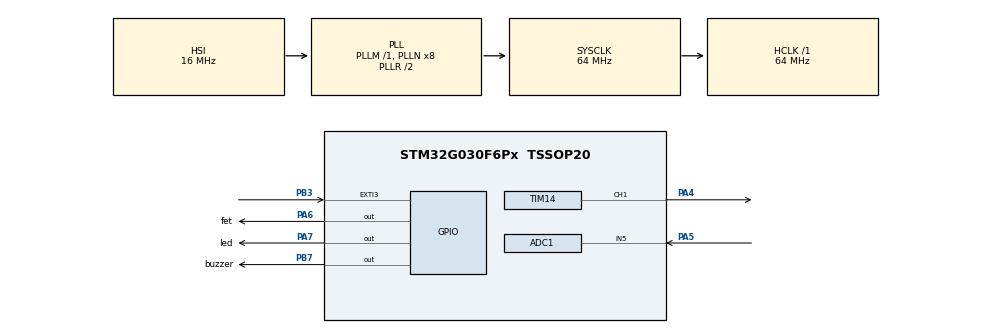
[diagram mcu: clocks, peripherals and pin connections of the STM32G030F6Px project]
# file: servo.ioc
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ADC1.Channel-0\#ChannelRegularConversion=ADC_CHANNEL_5
ADC1.NbrOfConversionFlag=1
ADC1.Rank-0\#ChannelRegularConversion=1
ADC1.SamplingTime-0\#ChannelRegularConversion=ADC_SAMPLINGTIME_COMMON_1
ADC1.SelectedChannel=ADC_CHANNEL_5
ADC1.master=1
Mcu.Family=STM32G0
Mcu.Name=STM32G030F6Px
Mcu.Package=TSSOP20
NVIC.ADC1_IRQn=true\:0\:0\:false\:false\:true\:true\:true\:true
NVIC.EXTI2_3_IRQn=true\:0\:0\:false\:false\:true\:true\:true\:true
NVIC.TIM14_IRQn=true\:0\:0\:false\:false\:true\:true\:true\:true
NVIC.TIM16_IRQn=true\:0\:0\:false\:false\:true\:true\:true\:true
PA13.Mode=Serial_Wire
PA13.Signal=SYS_SWDIO
PA14-BOOT0.Mode=Serial_Wire
PA14-BOOT0.Signal=SYS_SWCLK
PA14-BOOT0__PA15.StandardMode=true
PA4.Signal=S_TIM14_CH1
PA5.Mode=IN5
PA5.Signal=ADC1_IN5
PA6.GPIO_Label=fet
PA6.PinState=GPIO_PIN_SET
PA6.Signal=GPIO_Output
PA7.GPIO_Label=led
PA7.Signal=GPIO_Output
PB0__PB1__PB2__PA8.StandardMode=true
PB3.GPIO_ModeDefaultEXTI=GPIO_MODE_IT_FALLING
PB3.GPIO_PuPd=GPIO_PULLUP
PB3.Signal=GPXTI3
PB3__PB4__PB5__PB6.StandardMode=true
PB7.GPIO_Label=buzzer
PB7.Signal=GPIO_Output
PB7__PB8.StandardMode=true
PC14-OSC32_IN\ (PC14)__PB9.StandardMode=true
ProjectManager.HeapSize=0x200
ProjectManager.StackSize=0x400
ProjectManager.TargetToolchain=STM32CubeIDE
RCC.ADCFreq_Value=64000000
RCC.AHBFreq_Value=64000000
RCC.CortexFreq_Value=64000000
RCC.EXTERNAL_CLOCK_VALUE=12288000
RCC.HCLKFreq_Value=64000000
RCC.HSE_VALUE=8000000
RCC.HSI_VALUE=16000000
RCC.LSE_VALUE=32768
RCC.SYSCLKFreq_VALUE=64000000
RCC.SYSCLKSource=RCC_SYSCLKSOURCE_PLLCLK
RCC.VCOOutputFreq_Value=128000000
SH.S_TIM14_CH1.0=TIM14_CH1,PWM Generation1 CH1
TIM14.AutoReloadPreload=TIM_AUTORELOAD_PRELOAD_ENABLE
TIM14.Channel=TIM_CHANNEL_1
TIM14.Prescaler=19
TIM16.AutoReloadPreload=TIM_AUTORELOAD_PRELOAD_ENABLE
TIM16.Period=31999
TIM16.Prescaler=0
VP_TIM14_VS_ClockSourceINT.Mode=Enable_Timer
VP_TIM16_VS_ClockSourceINT.Mode=Enable_Timer
board=custom

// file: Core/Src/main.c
/* USER CODE BEGIN Header */
/**
  ******************************************************************************
  * @file           : main.c
  * @brief          : Main program body
  ******************************************************************************
  * @attention
  *
  * Copyright (c) 2026 STMicroelectronics.
  * All rights reserved.
  *
  * This software is licensed under terms that can be found in the LICENSE file
  * in the root directory of this software component.
  * If no LICENSE file comes with this software, it is provided AS-IS.
  *
  ******************************************************************************
  */
/* USER CODE END Header */
#include "main.h"

/* USER CODE BEGIN PD */
#define I_STALL 0.8
#define R_SHUNT 0.22
#define THRESHOLD I_STALL*R_SHUNT/3.3*4095
#define SAMPLES 3 //ignored samples
/* USER CODE END PD */

ADC_HandleTypeDef hadc1;

TIM_HandleTypeDef htim14;
TIM_HandleTypeDef htim16;

/* USER CODE BEGIN PV */
volatile uint8_t servo_power_rdy=0,angle=90,direction=1,buzzer=0,count=0;
volatile uint32_t last_debounce=0,tick=0;
/* USER CODE END PV */

void SystemClock_Config(void);
static void MX_GPIO_Init(void);
static void MX_ADC1_Init(void);
static void MX_TIM14_Init(void);
static void MX_TIM16_Init(void);

int main(void)
{

  /* MCU Configuration--------------------------------------------------------*/

  /* Reset of all peripherals, Initializes the Flash interface and the Systick. */
  HAL_Init();

  /* Configure the system clock */
  SystemClock_Config();

  /* Initialize all configured peripherals */
  MX_GPIO_Init();
  MX_ADC1_Init();
  MX_TIM14_Init();
  MX_TIM16_Init();
  /* USER CODE BEGIN 2 */
  HAL_TIM_PWM_Start(&htim14, TIM_CHANNEL_1);
  HAL_TIM_Base_Start_IT(&htim14);
  HAL_TIM_Base_Start_IT(&htim16);
  /* USER CODE END 2 */

  /* Infinite loop */
  /* USER CODE BEGIN WHILE */
  while (1)
  {
	TIM14->CCR1 = (angle/180.0*0.09+0.03)*65535;
    /* USER CODE END WHILE */

  }
}

void SystemClock_Config(void)
{
  RCC_OscInitTypeDef RCC_OscInitStruct = {0};
  RCC_ClkInitTypeDef RCC_ClkInitStruct = {0};

  /** Configure the main internal regulator output voltage
  */
  HAL_PWREx_ControlVoltageScaling(PWR_REGULATOR_VOLTAGE_SCALE1);

  /** Initializes the RCC Oscillators according to the specified parameters
  * in the RCC_OscInitTypeDef structure.
  */
  RCC_OscInitStruct.OscillatorType = RCC_OSCILLATORTYPE_HSI;
  RCC_OscInitStruct.HSIState = RCC_HSI_ON;
  RCC_OscInitStruct.HSIDiv = RCC_HSI_DIV1;
  RCC_OscInitStruct.HSICalibrationValue = RCC_HSICALIBRATION_DEFAULT;
  RCC_OscInitStruct.PLL.PLLState = RCC_PLL_ON;
  RCC_OscInitStruct.PLL.PLLSource = RCC_PLLSOURCE_HSI;
  RCC_OscInitStruct.PLL.PLLM = RCC_PLLM_DIV1;
  RCC_OscInitStruct.PLL.PLLN = 8;
  RCC_OscInitStruct.PLL.PLLP = RCC_PLLP_DIV2;
  RCC_OscInitStruct.PLL.PLLR = RCC_PLLR_DIV2;
  if (HAL_RCC_OscConfig(&RCC_OscInitStruct) != HAL_OK)
  {
    Error_Handler();
  }

  /** Initializes the CPU, AHB and APB buses clocks
  */
  RCC_ClkInitStruct.ClockType = RCC_CLOCKTYPE_HCLK|RCC_CLOCKTYPE_SYSCLK
                              |RCC_CLOCKTYPE_PCLK1;
  RCC_ClkInitStruct.SYSCLKSource = RCC_SYSCLKSOURCE_PLLCLK;
  RCC_ClkInitStruct.AHBCLKDivider = RCC_SYSCLK_DIV1;
  RCC_ClkInitStruct.APB1CLKDivider = RCC_HCLK_DIV1;

  if (HAL_RCC_ClockConfig(&RCC_ClkInitStruct, FLASH_LATENCY_2) != HAL_OK)
  {
    Error_Handler();
  }
}

static void MX_ADC1_Init(void)
{

  ADC_ChannelConfTypeDef sConfig = {0};

  /** Configure the global features of the ADC (Clock, Resolution, Data Alignment and number of conversion)
  */
  hadc1.Instance = ADC1;
  hadc1.Init.ClockPrescaler = ADC_CLOCK_SYNC_PCLK_DIV2;
  hadc1.Init.Resolution = ADC_RESOLUTION_12B;
  hadc1.Init.DataAlign = ADC_DATAALIGN_RIGHT;
  hadc1.Init.ScanConvMode = ADC_SCAN_DISABLE;
  hadc1.Init.EOCSelection = ADC_EOC_SINGLE_CONV;
  hadc1.Init.LowPowerAutoWait = DISABLE;
  hadc1.Init.LowPowerAutoPowerOff = DISABLE;
  hadc1.Init.ContinuousConvMode = DISABLE;
  hadc1.Init.NbrOfConversion = 1;
  hadc1.Init.DiscontinuousConvMode = DISABLE;
  hadc1.Init.ExternalTrigConv = ADC_SOFTWARE_START;
  hadc1.Init.ExternalTrigConvEdge = ADC_EXTERNALTRIGCONVEDGE_NONE;
  hadc1.Init.DMAContinuousRequests = DISABLE;
  hadc1.Init.Overrun = ADC_OVR_DATA_PRESERVED;
  hadc1.Init.SamplingTimeCommon1 = ADC_SAMPLETIME_1CYCLE_5;
  hadc1.Init.SamplingTimeCommon2 = ADC_SAMPLETIME_1CYCLE_5;
  hadc1.Init.OversamplingMode = DISABLE;
  hadc1.Init.TriggerFrequencyMode = ADC_TRIGGER_FREQ_HIGH;
  if (HAL_ADC_Init(&hadc1) != HAL_OK)
  {
    Error_Handler();
  }

  /** Configure Regular Channel
  */
  sConfig.Channel = ADC_CHANNEL_5;
  sConfig.Rank = ADC_REGULAR_RANK_1;
  sConfig.SamplingTime = ADC_SAMPLINGTIME_COMMON_1;
  if (HAL_ADC_ConfigChannel(&hadc1, &sConfig) != HAL_OK)
  {
    Error_Handler();
  }

}

static void MX_TIM14_Init(void)
{

  TIM_OC_InitTypeDef sConfigOC = {0};

  htim14.Instance = TIM14;
  htim14.Init.Prescaler = 19;
  htim14.Init.CounterMode = TIM_COUNTERMODE_UP;
  htim14.Init.Period = 65535;
  htim14.Init.ClockDivision = TIM_CLOCKDIVISION_DIV1;
  htim14.Init.AutoReloadPreload = TIM_AUTORELOAD_PRELOAD_ENABLE;
  if (HAL_TIM_Base_Init(&htim14) != HAL_OK)
  {
    Error_Handler();
  }
  if (HAL_TIM_PWM_Init(&htim14) != HAL_OK)
  {
    Error_Handler();
  }
  sConfigOC.OCMode = TIM_OCMODE_PWM1;
  sConfigOC.Pulse = 0;
  sConfigOC.OCPolarity = TIM_OCPOLARITY_HIGH;
  sConfigOC.OCFastMode = TIM_OCFAST_DISABLE;
  if (HAL_TIM_PWM_ConfigChannel(&htim14, &sConfigOC, TIM_CHANNEL_1) != HAL_OK)
  {
    Error_Handler();
  }
  HAL_TIM_MspPostInit(&htim14);

}

static void MX_TIM16_Init(void)
{

  htim16.Instance = TIM16;
  htim16.Init.Prescaler = 0;
  htim16.Init.CounterMode = TIM_COUNTERMODE_UP;
  htim16.Init.Period = 31999;
  htim16.Init.ClockDivision = TIM_CLOCKDIVISION_DIV1;
  htim16.Init.RepetitionCounter = 0;
  htim16.Init.AutoReloadPreload = TIM_AUTORELOAD_PRELOAD_ENABLE;
  if (HAL_TIM_Base_Init(&htim16) != HAL_OK)
  {
    Error_Handler();
  }

}

static void MX_GPIO_Init(void)
{
  GPIO_InitTypeDef GPIO_InitStruct = {0};

  /* GPIO Ports Clock Enable */
  __HAL_RCC_GPIOB_CLK_ENABLE();
  __HAL_RCC_GPIOA_CLK_ENABLE();

  /*Configure GPIO pin Output Level */
  HAL_GPIO_WritePin(buzzer_GPIO_Port, buzzer_Pin, GPIO_PIN_RESET);

  /*Configure GPIO pin Output Level */
  HAL_GPIO_WritePin(fet_GPIO_Port, fet_Pin, GPIO_PIN_SET);

  /*Configure GPIO pin Output Level */
  HAL_GPIO_WritePin(led_GPIO_Port, led_Pin, GPIO_PIN_RESET);

  /*Configure GPIO pin : buzzer_Pin */
  GPIO_InitStruct.Pin = buzzer_Pin;
  GPIO_InitStruct.Mode = GPIO_MODE_OUTPUT_PP;
  GPIO_InitStruct.Pull = GPIO_NOPULL;
  GPIO_InitStruct.Speed = GPIO_SPEED_FREQ_LOW;
  HAL_GPIO_Init(buzzer_GPIO_Port, &GPIO_InitStruct);

  /*Configure GPIO pins : fet_Pin led_Pin */
  GPIO_InitStruct.Pin = fet_Pin|led_Pin;
  GPIO_InitStruct.Mode = GPIO_MODE_OUTPUT_PP;
  GPIO_InitStruct.Pull = GPIO_NOPULL;
  GPIO_InitStruct.Speed = GPIO_SPEED_FREQ_LOW;
  HAL_GPIO_Init(GPIOA, &GPIO_InitStruct);

  /*Configure GPIO pin : PB3 */
  GPIO_InitStruct.Pin = GPIO_PIN_3;
  GPIO_InitStruct.Mode = GPIO_MODE_IT_FALLING;
  GPIO_InitStruct.Pull = GPIO_PULLUP;
  HAL_GPIO_Init(GPIOB, &GPIO_InitStruct);

  /* EXTI interrupt init*/
  HAL_NVIC_SetPriority(EXTI2_3_IRQn, 0, 0);
  HAL_NVIC_EnableIRQ(EXTI2_3_IRQn);

}

/* USER CODE BEGIN 4 */
void HAL_ADC_ConvCpltCallback(ADC_HandleTypeDef* hadc)
{
    if(HAL_ADC_GetValue(&hadc1)>THRESHOLD){
    	count++;
    }
    else{
    	count=0;
    }
    if(count>SAMPLES){
    	buzzer=1;
    }
}
void HAL_GPIO_EXTI_Falling_Callback(uint16_t GPIO_Pin)
{
	HAL_NVIC_DisableIRQ(EXTI2_3_IRQn);
	last_debounce=HAL_GetTick();
	HAL_GPIO_WritePin(fet_GPIO_Port, fet_Pin, 1);
	HAL_TIM_PWM_Start(&htim14, TIM_CHANNEL_1);
	HAL_GPIO_WritePin(led_GPIO_Port, led_Pin, 0);
	buzzer=0;
}
void HAL_TIM_PeriodElapsedCallback(TIM_HandleTypeDef* htim)
{
	if(htim->Instance == TIM16){
		if(buzzer){
			HAL_GPIO_TogglePin(buzzer_GPIO_Port, buzzer_Pin);
		}
		else{
			HAL_GPIO_WritePin(buzzer_GPIO_Port, buzzer_Pin, 0);
		}
	}
	else{
		if(buzzer){
			HAL_TIM_PWM_Stop(&htim14, TIM_CHANNEL_1); // servo control stop
			HAL_GPIO_WritePin(fet_GPIO_Port, fet_Pin, 0); // servo power cut
			HAL_GPIO_WritePin(led_GPIO_Port, led_Pin, 1); // alert LED on
		}
	}
}
/* USER CODE END 4 */

void Error_Handler(void)
{
  __disable_irq();
  while (1)
  {
  }
}
